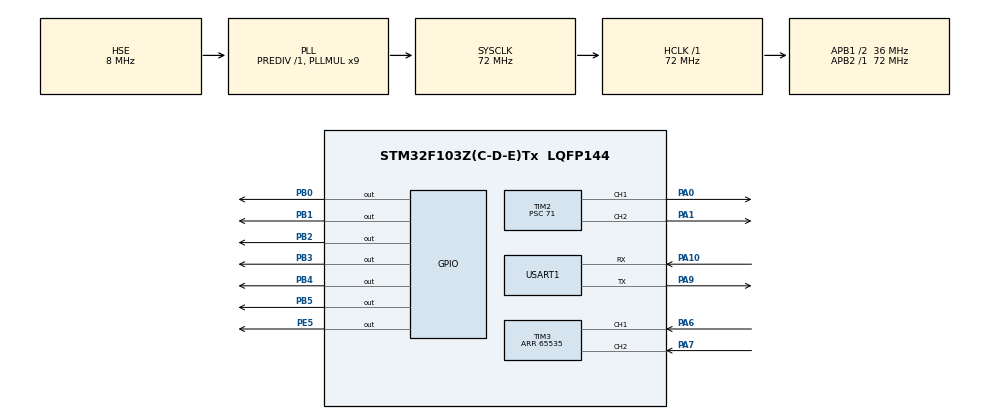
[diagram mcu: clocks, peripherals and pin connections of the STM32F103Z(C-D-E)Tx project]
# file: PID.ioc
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Mcu.Family=STM32F1
Mcu.Name=STM32F103Z(C-D-E)Tx
Mcu.Package=LQFP144
NVIC.PriorityGroup=NVIC_PRIORITYGROUP_4
NVIC.TIM7_IRQn=true\:1\:0\:true\:false\:true\:true\:true
OSC_IN.Mode=HSE-External-Oscillator
OSC_IN.Signal=RCC_OSC_IN
OSC_OUT.Mode=HSE-External-Oscillator
OSC_OUT.Signal=RCC_OSC_OUT
PA0-WKUP.Signal=S_TIM2_CH1_ETR
PA1.Signal=S_TIM2_CH2
PA10.Mode=Asynchronous
PA10.Signal=USART1_RX
PA13.Mode=Serial_Wire
PA13.Signal=SYS_JTMS-SWDIO
PA14.Mode=Serial_Wire
PA14.Signal=SYS_JTCK-SWCLK
PA6.Signal=S_TIM3_CH1
PA7.Signal=S_TIM3_CH2
PA9.Mode=Asynchronous
PA9.Signal=USART1_TX
PB0.Signal=GPIO_Output
PB1.Signal=GPIO_Output
PB2.Signal=GPIO_Output
PB3.Signal=GPIO_Output
PB4.Signal=GPIO_Output
PB5.Signal=GPIO_Output
PC14-OSC32_IN.Mode=LSE-External-Oscillator
PC14-OSC32_IN.Signal=RCC_OSC32_IN
PC15-OSC32_OUT.Mode=LSE-External-Oscillator
PC15-OSC32_OUT.Signal=RCC_OSC32_OUT
PE5.Signal=GPIO_Output
ProjectManager.HeapSize=0x200
ProjectManager.StackSize=0x400
ProjectManager.TargetToolchain=MDK-ARM V5
RCC.AHBFreq_Value=72000000
RCC.APB1CLKDivider=RCC_HCLK_DIV2
RCC.APB1Freq_Value=36000000
RCC.APB1TimFreq_Value=72000000
RCC.APB2Freq_Value=72000000
RCC.APB2TimFreq_Value=72000000
RCC.HCLKFreq_Value=72000000
RCC.PLLMUL=RCC_PLL_MUL9
RCC.PLLSourceVirtual=RCC_PLLSOURCE_HSE
RCC.SYSCLKFreq_VALUE=72000000
RCC.SYSCLKSource=RCC_SYSCLKSOURCE_PLLCLK
RCC.USBFreq_Value=72000000
SH.S_TIM2_CH1_ETR.0=TIM2_CH1,PWM Generation1 CH1
SH.S_TIM2_CH2.0=TIM2_CH2,PWM Generation2 CH2
SH.S_TIM3_CH1.0=TIM3_CH1,Encoder_Interface
SH.S_TIM3_CH2.0=TIM3_CH2,Encoder_Interface
TIM2.AutoReloadPreload=TIM_AUTORELOAD_PRELOAD_DISABLE
TIM2.Channel-PWM\ Generation1\ CH1=TIM_CHANNEL_1
TIM2.Channel-PWM\ Generation2\ CH2=TIM_CHANNEL_2
TIM2.Period=19999
TIM2.Prescaler=71
TIM3.AutoReloadPreload=TIM_AUTORELOAD_PRELOAD_ENABLE
TIM3.EncoderMode=TIM_ENCODERMODE_TI12
TIM3.Period=65535
TIM7.AutoReloadPreload=TIM_AUTORELOAD_PRELOAD_ENABLE
TIM7.Period=9999
TIM7.Prescaler=71
USART1.VirtualMode=VM_ASYNC
VP_TIM7_VS_ClockSourceINT.Mode=Enable_Timer
board=custom

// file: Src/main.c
/* USER CODE BEGIN Header */
/**
  ******************************************************************************
  * @file           : main.c
  * @brief          : Main program body
  ******************************************************************************
  * @attention
  *
  * <h2><center>&copy; Copyright (c) 2021 STMicroelectronics.
  * All rights reserved.</center></h2>
  *
  * This software component is licensed by ST under BSD 3-Clause license,
  * the "License"; You may not use this file except in compliance with the
  * License. You may obtain a copy of the License at:
  *                        opensource.org/licenses/BSD-3-Clause
  *
  ******************************************************************************
  */
/* USER CODE END Header */

#include "main.h"
#include "tim.h"
#include "usart.h"
#include "gpio.h"
#include "pid.h"

/* USER CODE BEGIN Includes */

#include "stdio.h"
#include "math.h"
/* USER CODE END Includes */

/* USER CODE BEGIN PV */
int MotorSpeed;
int MotorOutput;
 int  cout;
 float pwmnbr;
 int dir;
 uint8_t  a[]={0xff,0x10,0x5f,0x3f,0xb1,0x02,0x95,0x3e,0x57,0xa6,0x16,0xbe,0x7b,0x4d,0x7f,0xbf,0x00,0x00,0x80,0x7f};
 int number=0;
 PID_TypeDef M1,M2,M3,M4;

/* USER CODE END PV */

void SystemClock_Config(void);

/* USER CODE BEGIN 0 */

int fputc(int ch,FILE *p)
{
	while(!(USART1->SR &(1<<7)));
	USART1->DR=ch;
	return ch;
}
void speed_one(int pwm,int dir);
/* USER CODE END 0 */

int main(void)
{

  /* MCU Configuration--------------------------------------------------------*/

  /* Reset of all peripherals, Initializes the Flash interface and the Systick. */
  HAL_Init();

  /* Configure the system clock */
  SystemClock_Config();

  /* Initialize all configured peripherals */
  MX_GPIO_Init();
  MX_TIM2_Init();
  MX_TIM3_Init();
  MX_TIM7_Init();
  MX_USART1_UART_Init();
  /* USER CODE BEGIN 2 */
	HAL_TIM_Base_Start_IT(&htim7);
	HAL_TIM_Encoder_Start(&htim3, TIM_CHANNEL_ALL);
	HAL_TIM_PWM_Start(&htim2, TIM_CHANNEL_1);
  /* USER CODE END 2 */

  /* Infinite loop */
  /* USER CODE BEGIN WHILE */
	PID_Init(&M1, DELTA_PID ,15000,5000,2,20,20);
  while (1)
  {
    /* USER CODE END WHILE */

    /* USER CODE BEGIN 3 */

//
//		dir=__HAL_TIM_IS_TIM_COUNTING_DOWN(&htim3);
  }
  /* USER CODE END 3 */
}

void SystemClock_Config(void)
{
  RCC_OscInitTypeDef RCC_OscInitStruct = {0};
  RCC_ClkInitTypeDef RCC_ClkInitStruct = {0};

  /** Initializes the CPU, AHB and APB busses clocks
  */
  RCC_OscInitStruct.OscillatorType = RCC_OSCILLATORTYPE_HSE;
  RCC_OscInitStruct.HSEState = RCC_HSE_ON;
  RCC_OscInitStruct.HSEPredivValue = RCC_HSE_PREDIV_DIV1;
  RCC_OscInitStruct.HSIState = RCC_HSI_ON;
  RCC_OscInitStruct.PLL.PLLState = RCC_PLL_ON;
  RCC_OscInitStruct.PLL.PLLSource = RCC_PLLSOURCE_HSE;
  RCC_OscInitStruct.PLL.PLLMUL = RCC_PLL_MUL9;
  if (HAL_RCC_OscConfig(&RCC_OscInitStruct) != HAL_OK)
  {
    Error_Handler();
  }
  /** Initializes the CPU, AHB and APB busses clocks
  */
  RCC_ClkInitStruct.ClockType = RCC_CLOCKTYPE_HCLK|RCC_CLOCKTYPE_SYSCLK
                              |RCC_CLOCKTYPE_PCLK1|RCC_CLOCKTYPE_PCLK2;
  RCC_ClkInitStruct.SYSCLKSource = RCC_SYSCLKSOURCE_PLLCLK;
  RCC_ClkInitStruct.AHBCLKDivider = RCC_SYSCLK_DIV1;
  RCC_ClkInitStruct.APB1CLKDivider = RCC_HCLK_DIV2;
  RCC_ClkInitStruct.APB2CLKDivider = RCC_HCLK_DIV1;

  if (HAL_RCC_ClockConfig(&RCC_ClkInitStruct, FLASH_LATENCY_2) != HAL_OK)
  {
    Error_Handler();
  }
}

/* USER CODE BEGIN 4 */
void HAL_TIM_PeriodElapsedCallback(TIM_HandleTypeDef *htim)
{
	   static unsigned char i=0;
    if (htim == (&htim7))
    {
			//MotorOutput=6000;
			//__HAL_TIM_SET_COMPARE(&htim2,TIM_CHANNEL_1,MotorOutput);
			//=MotorOutput*100/7200;
			i++;
			if(i==10)
			{
				MotorSpeed=__HAL_TIM_GET_COUNTER(&htim3);
				__HAL_TIM_SET_COUNTER(&htim3, 0);
				HAL_GPIO_TogglePin(GPIOE,GPIO_PIN_5);
   			pwmnbr=PID_Calculate(&M1,200,MotorSpeed);
				speed_one(pwmnbr,1);
				i=0;
			}

//			if(i>100)
//			{
//				MotorSpeed=__HAL_TIM_GET_COUNTER(&htim3);
//				__HAL_TIM_SET_COUNTER(&htim3, 0);
//				HAL_GPIO_TogglePin(GPIOE,GPIO_PIN_5);
//  			printf("Encoder=%d  motor=%d \r\n",MotorSpeed,MotorOutput);
//				i=0;
//			}
			//HAL_UART_Transmit(&huart1,a,sizeof(a),1000);
			//HAL_UART_Transmit(&huart1,&cout,sizeof(cout),1000);
//			cout=__HAL_TIM_GET_COUNTER(&htim3);
//			__HAL_TIM_SET_COUNTER(&htim3, 0);
//      HAL_GPIO_TogglePin(GPIOE,GPIO_PIN_5);
//			number=0;
			// usart1_send(a);
    }
}
void speed_one(int pwm,int dir)
{
  if(dir==0)
	{
		HAL_GPIO_WritePin(GPIOB,GPIO_PIN_2,GPIO_PIN_SET);
		HAL_GPIO_WritePin(GPIOB,GPIO_PIN_3,GPIO_PIN_SET);
	}
	else if(dir>0)
	{
		HAL_GPIO_WritePin(GPIOB,GPIO_PIN_2,GPIO_PIN_SET);
		HAL_GPIO_WritePin(GPIOB,GPIO_PIN_3,GPIO_PIN_RESET);
	}
	else
	{
		HAL_GPIO_WritePin(GPIOB,GPIO_PIN_2,GPIO_PIN_RESET);
		HAL_GPIO_WritePin(GPIOB,GPIO_PIN_3,GPIO_PIN_SET);
	}
	__HAL_TIM_SET_COMPARE(&htim2,TIM_CHANNEL_1,pwm);
}
/* USER CODE END 4 */

void Error_Handler(void)
{
}

/************************ (C) COPYRIGHT STMicroelectronics *****END OF FILE****/
